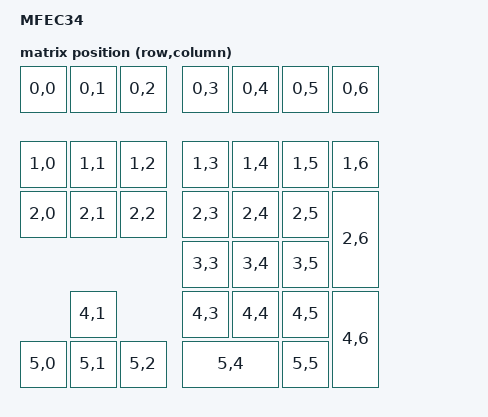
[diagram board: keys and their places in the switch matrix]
/*
 * Copyright (c) 2020 The ZMK Contributors
 *
 * SPDX-License-Identifier: MIT
 */

/dts-v1/;
#include <nordic/nrf52840_qiaa.dtsi>

#include <zephyr/dt-bindings/dt-util.h>
#include <zephyr/dt-bindings/adc/adc.h>
#include <zephyr/dt-bindings/gpio/nordic-nrf-gpio.h>

#include <dt-bindings/zmk/matrix_transform.h>
#include <physical_layouts.dtsi>

#include <freq.h>

&adc {
    status = "okay";

    #address-cells = <1>;
    #size-cells = <0>;

    channel@3 {
        reg = <3>;
        zephyr,gain = "ADC_GAIN_1_6";
        zephyr,reference = "ADC_REF_INTERNAL";
        zephyr,acquisition-time = <ADC_ACQ_TIME(ADC_ACQ_TIME_MICROSECONDS, 40)>;
        zephyr,resolution = <12>;
    };

    channel@1 {
        reg = <1>;
        zephyr,gain = "ADC_GAIN_1_6";
        zephyr,reference = "ADC_REF_INTERNAL";
        zephyr,acquisition-time = <ADC_ACQ_TIME(ADC_ACQ_TIME_MICROSECONDS, 3)>;
        zephyr,resolution = <12>;
    };
};

#define MUX(label)                      \
    label: label {                        \
    	compatible = "zmk,gpio-mux";            \
        gpio-controller;                        \
        ngpios = <8>;                           \
        #gpio-cells = <2>;                      \
    };


#define EC_MATRIX(_name, _bottom_mask)              \
    _name: _name {                                  \
        compatible = "zmk,kscan-ec-matrix";         \
        input-gpios                                 \
	        = <&left_mux 3 0>                   \
	        , <&left_mux 0 0>                   \
	        , <&left_mux 1 0>                   \
	        , <&left_mux 2 0>                   \
	        , <&left_mux 6 0>                   \
	        , <&left_mux 7 0>                   \
	        , <&left_mux 5 0>                   \
        ;                                           \
        io-channels = <&adc 1>;                     \
        matrix-relax-us = <3>;                      \
        matrix-warm-up-us = <500>;                  \
        adc-read-settle-us = <1>;                   \
        strobe-input-masks = <0 0 0 _bottom_mask>;  \
        sleep-after-secs = <10>;                    \
        active-polling-interval-ms = <2>;           \
        idle-polling-interval-ms = <3>;             \
        sleep-polling-interval-ms = <4>;            \
        dynamic-polling-interval;                   \
    };

/ {
    model = "MFEC34";
    compatible = "chandler5314,MFEC34", "nordic,nrf52840";

    chosen {
        zephyr,code-partition = &code_partition;
        zephyr,sram = &sram0;
        zephyr,flash = &flash0;
	zerhyr,console = &cdc_acm_uart;
	zerhyr,shell-uart = &cdc_acm_uart;
        zmk,battery = &vbatt;
	zmk,physical-layout = &layout;
    };

    vbatt: vbatt {
        compatible = "voltage-divider";
        io-channels = <&adc 3>;
        
        output-ohms = <2000000>;
        full-ohms = <(2000000 + 820000)>;
    };

    aliases {
        led0 = &blue_led;
    };

    leds {
        compatible = "gpio-leds";
        blue_led: led_0 {
        };
    };

    transform: transform {
        compatible = "zmk,matrix-transform";
        rows = <6>;
        columns = <7>;

        map = <
        RC(0,0) RC(0,1) RC(0,2)     RC(0,3) RC(0,4) RC(0,5) RC(0,6)
        RC(1,0) RC(1,1) RC(1,2)     RC(1,3) RC(1,4) RC(1,5) RC(1,6) 
        RC(2,0) RC(2,1) RC(2,2)     RC(2,3) RC(2,4) RC(2,5) RC(2,6)
                                    RC(3,3) RC(3,4) RC(3,5) 
                RC(4,1)             RC(4,3) RC(4,4) RC(4,5) RC(4,6)
        RC(5,0) RC(5,1) RC(5,2)             RC(5,4) RC(5,5)  
        >;
    };

    layout: layout {
        compatible = "zmk,physical-layout";
	display-name = "Standard";
	transform = <&transform>;
	kscan = <&matrix>;

	keys  //                        w   h    x    y     rot    rx    ry
            = <&key_physical_attrs 100 100    0    0       0     0     0>
            , <&key_physical_attrs 100 100  100    0       0     0     0>
            , <&key_physical_attrs 100 100  200    0       0     0     0>
            , <&key_physical_attrs 100 100  325    0       0     0     0>
            , <&key_physical_attrs 100 100  425    0       0     0     0>
            , <&key_physical_attrs 100 100  525    0       0     0     0>
            , <&key_physical_attrs 100 100  625    0       0     0     0>
            , <&key_physical_attrs 100 100    0  150       0     0     0>
            , <&key_physical_attrs 100 100  100  150       0     0     0>
            , <&key_physical_attrs 100 100  200  150       0     0     0>
            , <&key_physical_attrs 100 100  325  150       0     0     0>
            , <&key_physical_attrs 100 100  425  150       0     0     0>
            , <&key_physical_attrs 100 100  525  150       0     0     0>
            , <&key_physical_attrs 100 100  625  150       0     0     0>
            , <&key_physical_attrs 100 100    0  250       0     0     0>
            , <&key_physical_attrs 100 100  100  250       0     0     0>
            , <&key_physical_attrs 100 100  200  250       0     0     0>
            , <&key_physical_attrs 100 100  325  250       0     0     0>
            , <&key_physical_attrs 100 100  425  250       0     0     0>
            , <&key_physical_attrs 100 100  525  250       0     0     0>
            , <&key_physical_attrs 100 200  625  250       0     0     0>
            , <&key_physical_attrs 100 100  325  350       0     0     0>
            , <&key_physical_attrs 100 100  425  350       0     0     0>
            , <&key_physical_attrs 100 100  525  350       0     0     0>
            , <&key_physical_attrs 100 100  100  450       0     0     0>
            , <&key_physical_attrs 100 100  325  450       0     0     0>
            , <&key_physical_attrs 100 100  425  450       0     0     0>
            , <&key_physical_attrs 100 100  525  450       0     0     0>
            , <&key_physical_attrs 100 200  625  450       0     0     0>
            , <&key_physical_attrs 100 100    0  550       0     0     0>
            , <&key_physical_attrs 100 100  100  550       0     0     0>
            , <&key_physical_attrs 100 100  200  550       0     0     0>
            , <&key_physical_attrs 200 100  325  550       0     0     0>
            , <&key_physical_attrs 100 100  525  550       0     0     0>
		;
    };

    MUX(left_mux)

    EC_MATRIX(matrix, (BIT(0) + BIT(1) + BIT(2) + BIT(3) + BIT(4) + BIT(5)))
};

&gpiote {
	status = "okay";
};

&gpio0 {
	status = "okay";
};

&gpio1 {
	status = "okay";
};


zephyr_udc0: &usbd {
	status = "okay";
        cdc_acm_uart: cdc_acm_uart {
                compatible = "zephyr,cdc-acm-uart";
        };
};

&flash0 {
	/*
	 * For more information, see:
	 * http://docs.zephyrproject.org/latest/devices/dts/flash_partitions.html
	 */
	partitions {
		compatible = "fixed-partitions";
		#address-cells = <1>;
		#size-cells = <1>;

		sd_partition: partition@0 {
			label = "mbr";
			reg = <0x00000000 0x00001000>;
		};
		code_partition: partition@1000 {
			label = "code_partition";
			reg = <0x00001000 0x000d3000>;
		};

		storage_partition: partition@d4000 {
			label = "storage";
			reg = <0x000d4000 0x00020000>;
		};

		boot_partition: partition@f4000 {
			label = "adafruit_boot";
			reg = <0x000f4000 0x0000c000>;
		};
	};
};
